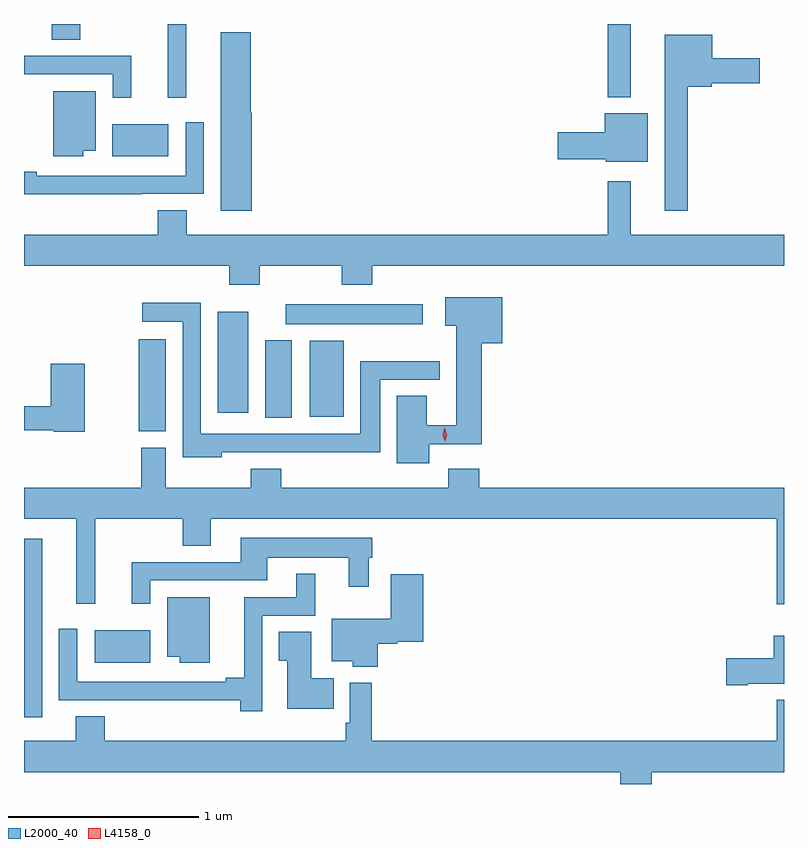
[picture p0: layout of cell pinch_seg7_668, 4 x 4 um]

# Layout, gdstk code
import gdstk
lib = gdstk.Library(unit=1e-6, precision=1e-09)
def R(c, l, rs):  # rectangles x0, y0, x1, y1
    for r in rs: c.add(gdstk.rectangle(r[:2], r[2:], *l))
def P(c, l, *ps):  # polygons
    for p in ps: c.add(gdstk.Polygon(p, *l))
L2000_40 = (2000, 40)
L4158_0 = (4158, 0)

pinch_seg7_668 = lib.new_cell('pinch_seg7_668')
R(pinch_seg7_668, L2000_40, [(275.081,1006.233,275.176,1007.173), (275.453,1006.52,275.746,1006.69), (275.686,1007.737,275.827,1008.223), (276.35,1007.809,276.49,1008.217), (276.584,1007.813,276.763,1008.214), (276.101,1007.835,276.262,1008.367), (276.459,1008.302,277.18,1008.406), (275.546,1009.184,275.839,1009.354), (275.837,1009.494,275.936,1009.881), (278.154,1009.496,278.275,1009.881), (275.228,1009.798,275.376,1009.881)])
P(pinch_seg7_668, L2000_40, [(276.28,1009.413),(276.275,1009.413),(276.275,1009.837),(276.116,1009.837),(276.116,1008.897),(276.28,1008.897)],
  [(278.575,1009.55),(278.7,1009.55),(278.7,1009.568),(278.953,1009.568),(278.953,1009.702),(278.704,1009.702),(278.704,1009.825),(278.453,1009.825),(278.453,1008.897),(278.575,1008.897)],
  [(275.645,1009.713),(275.081,1009.713),(275.081,1009.617),(275.547,1009.617),(275.547,1009.494),(275.645,1009.494)],
  [(275.392,1009.214),(275.458,1009.214),(275.458,1009.528),(275.234,1009.528),(275.234,1009.184),(275.392,1009.184)],
  [(278.365,1009.411),(278.138,1009.411),(278.138,1009.31),(277.89,1009.31),(277.89,1009.168),(278.142,1009.168),(278.142,1009.157),(278.365,1009.157)],
  [(275.702,1008.987),(276.027,1008.987),(276.027,1009.363),(275.931,1009.363),(275.931,1009.083),(275.149,1009.083),(275.149,1009.103),(275.081,1009.103),(275.081,1008.986),(275.702,1008.986)],
  [(275.938,1008.902),(275.786,1008.902),(275.786,1008.772),(275.081,1008.772),(275.081,1008.608),(276.161,1008.608),(276.161,1008.509),(276.321,1008.509),(276.321,1008.608),(276.754,1008.608),(276.754,1008.509),(276.914,1008.509),(276.914,1008.608),(279.081,1008.608),(279.081,1008.772),(278.275,1008.772),(278.275,1009.054),(278.154,1009.054),(278.154,1008.772),(275.938,1008.772)],
  [(277.214,1007.669),(277.49,1007.669),(277.49,1008.2),(277.597,1008.2),(277.597,1008.442),(277.299,1008.442),(277.299,1008.293),(277.355,1008.293),(277.355,1007.769),(277.201,1007.769),(277.201,1007.924),(277.043,1007.924),(277.043,1007.568),(277.214,1007.568)],
  [(276.123,1007.628),(276.517,1007.628),(276.517,1007.627),(276.955,1007.627),(276.955,1008.009),(277.27,1008.009),(277.27,1008.107),(276.851,1008.107),(276.851,1007.724),(276.012,1007.724),(276.012,1008.413),(275.703,1008.413),(275.703,1008.315),(275.916,1008.315),(275.916,1007.6),(276.123,1007.6)],
  [(275.4,1008.094),(275.222,1008.094),(275.222,1007.87),(275.081,1007.87),(275.081,1007.742),(275.238,1007.742),(275.238,1007.734),(275.4,1007.734)],
  [(279.081,1007.44),(277.478,1007.44),(277.478,1007.539),(277.313,1007.539),(277.313,1007.44),(276.434,1007.44),(276.434,1007.539),(276.274,1007.539),(276.274,1007.44),(275.827,1007.44),(275.827,1007.652),(275.699,1007.652),(275.699,1007.44),(275.081,1007.44),(275.081,1007.276),(275.357,1007.276),(275.357,1006.83),(275.456,1006.83),(275.456,1007.276),(275.917,1007.276),(275.917,1007.134),(276.064,1007.134),(276.064,1007.276),(279.042,1007.276),(279.042,1006.827),(279.081,1006.827)],
  [(275.745,1006.953),(276.361,1006.953),(276.361,1007.072),(276.791,1007.072),(276.791,1006.92),(276.895,1006.92),(276.895,1007.071),(276.913,1007.071),(276.913,1007.176),(276.221,1007.176),(276.221,1007.049),(275.648,1007.049),(275.648,1006.83),(275.745,1006.83)],
  [(276.336,1006.767),(276.613,1006.767),(276.613,1006.987),(276.515,1006.987),(276.515,1006.863),(276.239,1006.863),(276.239,1006.439),(276.143,1006.439),(276.143,1006.419),(275.361,1006.419),(275.361,1006.699),(275.265,1006.699),(275.265,1006.323),(275.59,1006.323),(275.59,1006.322),(276.22,1006.322),(276.22,1006.263),(276.336,1006.263)],
  [(276.944,1006.619),(277.046,1006.619),(277.046,1006.631),(277.181,1006.631),(277.181,1006.984),(277.01,1006.984),(277.01,1006.75),(276.701,1006.75),(276.701,1006.526),(276.81,1006.526),(276.81,1006.499),(276.944,1006.499)],
  [(276.058,1006.864),(275.834,1006.864),(275.834,1006.55),(275.9,1006.55),(275.9,1006.52),(276.058,1006.52)],
  [(276.71,1006.438),(276.592,1006.438),(276.592,1006.682),(276.421,1006.682),(276.421,1006.531),(276.467,1006.531),(276.467,1006.277),(276.71,1006.277)],
  [(278.89,1006.409),(279.081,1006.409),(279.081,1006.66),(279.026,1006.66),(279.026,1006.544),(278.778,1006.544),(278.778,1006.402),(278.89,1006.402)],
  [(278.384,1005.944),(279.081,1005.944),(279.081,1006.324),(279.042,1006.324),(279.042,1006.108),(276.911,1006.108),(276.911,1006.414),(276.795,1006.414),(276.795,1006.204),(276.775,1006.204),(276.775,1006.108),(275.507,1006.108),(275.507,1006.238),(275.354,1006.238),(275.354,1006.108),(275.081,1006.108),(275.081,1005.944),(278.219,1005.944),(278.219,1005.881),(278.384,1005.881)])
P(pinch_seg7_668, L4158_0, [(277.298,1007.685),(277.298,1007.685),(277.286,1007.72),(277.295,1007.754),(277.295,1007.755),(277.295,1007.754),(277.306,1007.72),(277.298,1007.685)])

lib.write_gds('pinch_seg7_668.gds')
